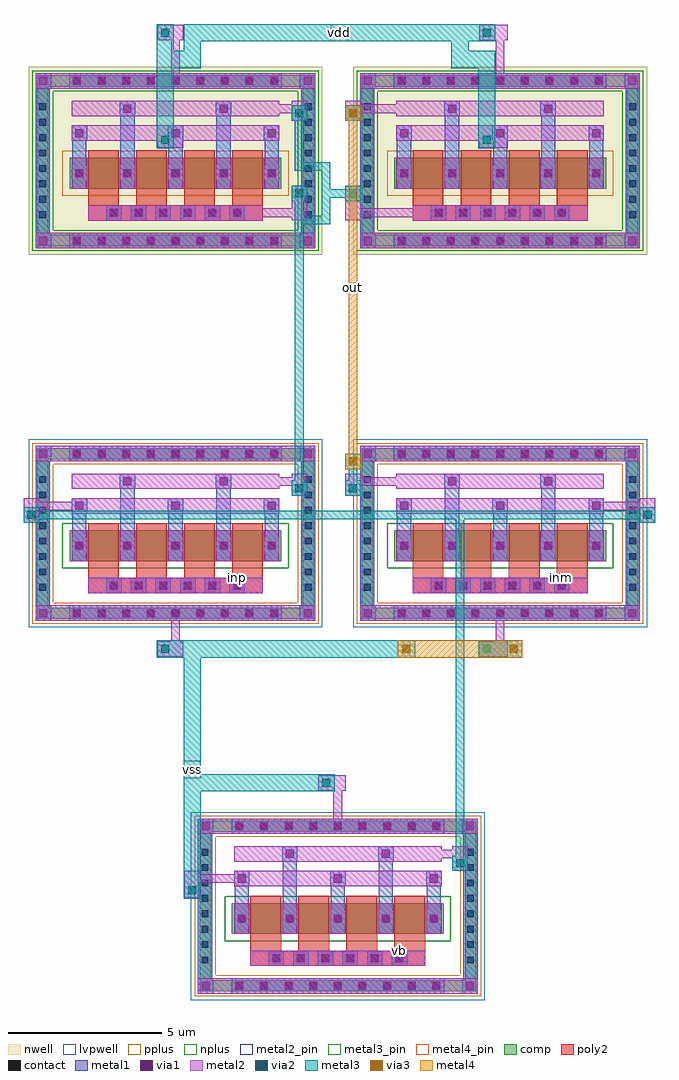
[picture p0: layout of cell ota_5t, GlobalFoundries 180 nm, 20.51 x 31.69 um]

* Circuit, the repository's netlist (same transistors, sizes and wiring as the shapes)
.lib "/home/huda/.volare/gf180mcuD/libs.tech/ngspice/sm141064.ngspice" typical
.subckt ota_5t vdd vss inp inm out vb
XM1  net1 inp net2 vss nfet_03v3 L=1u W=4u nf=4
XM2  out  inm net2 vss nfet_03v3 L=1u W=4u nf=4
XM3  net1 net1 vdd vdd pfet_03v3 L=1u W=4u nf=4
XM4  out  net1 vdd vdd pfet_03v3 L=1u W=4u nf=4
XM5  net2 vb  vss vss nfet_03v3 L=1u W=4u nf=4
.ends

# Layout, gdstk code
import gdstk
lib = gdstk.Library(unit=1e-6, precision=5e-09)
def R(c, l, rs):  # rectangles x0, y0, x1, y1
    for r in rs: c.add(gdstk.rectangle(r[:2], r[2:], *l))
def A(c, l, x, y, w, h, nx, ny, dx, dy):  # array of equal rectangles
    R(c, l, [(x+i*dx, y+j*dy, x+i*dx+w, y+j*dy+h) for i in range(nx) for j in range(ny)])
def P(c, l, *ps):  # polygons
    for p in ps: c.add(gdstk.Polygon(p, *l))
nwell = (21, 0)
comp = (22, 0)
poly2 = (30, 0)
pplus = (31, 0)
nplus = (32, 0)
contact = (33, 0)
metal1 = (34, 0)
via1 = (35, 0)
metal2 = (36, 0)
metal2_pin = (36, 10)
via2 = (38, 0)
via3 = (40, 0)
metal3 = (42, 0)
metal3_pin = (42, 10)
metal4 = (46, 0)
metal4_pin = (46, 10)
lvpwell = (204, 0)

ota_5t = lib.new_cell('ota_5t')
R(ota_5t, nwell, [(-10.04,24.2,-0.5,30.3), (0.5,24.2,10.04,30.3), (-9.88,24.36,-0.66,30.14), (0.66,24.36,9.88,30.14)])
A(ota_5t, comp, -3.38, 0.28, 0.36, 0.36, 9, 2, 0.8, 5.18)
A(ota_5t, comp, -4.49, 1.12, 0.36, 0.36, 1, 8, 0, 0.5)
A(ota_5t, comp, 4.13, 1.12, 0.36, 0.36, 1, 8, 0, 0.5)
A(ota_5t, comp, -8.65, 12.38, 0.36, 0.36, 9, 2, 0.8, 5.18)
A(ota_5t, comp, 1.89, 12.38, 0.36, 0.36, 9, 2, 0.8, 5.18)
A(ota_5t, comp, -9.76, 13.22, 0.36, 0.36, 1, 8, 0, 0.5)
A(ota_5t, comp, -1.14, 13.22, 0.36, 0.36, 1, 8, 0, 0.5)
A(ota_5t, comp, 0.78, 13.22, 0.36, 0.36, 1, 8, 0, 0.5)
A(ota_5t, comp, 9.4, 13.22, 0.36, 0.36, 1, 8, 0, 0.5)
A(ota_5t, comp, -8.65, 24.48, 0.36, 0.36, 9, 2, 0.8, 5.18)
A(ota_5t, comp, 1.89, 24.48, 0.36, 0.36, 9, 2, 0.8, 5.18)
A(ota_5t, comp, -9.76, 25.32, 0.36, 0.36, 1, 8, 0, 0.5)
A(ota_5t, comp, -1.14, 25.32, 0.36, 0.36, 1, 8, 0, 0.5)
A(ota_5t, comp, 0.78, 25.32, 0.36, 0.36, 1, 8, 0, 0.5)
A(ota_5t, comp, 9.4, 25.32, 0.36, 0.36, 1, 8, 0, 0.5)
R(ota_5t, comp, [(-3.38,0.28,3.38,0.64), (-4.49,1.12,-4.13,4.98), (4.13,1.12,4.49,4.98), (-3.44,2.145,3.44,3.145), (-3.38,5.46,3.38,5.82), (-8.65,12.38,-1.89,12.74), (1.89,12.38,8.65,12.74), (-9.76,13.22,-9.4,17.08), (-1.14,13.22,-0.78,17.08), (0.78,13.22,1.14,17.08), (9.4,13.22,9.76,17.08), (-8.71,14.245,-1.83,15.245), (1.83,14.245,8.71,15.245), (-8.65,17.56,-1.89,17.92), (1.89,17.56,8.65,17.92), (-8.65,24.48,-1.89,24.84), (1.89,24.48,8.65,24.84), (-9.76,25.32,-9.4,29.18), (-1.14,25.32,-0.78,29.18), (0.78,25.32,1.14,29.18), (9.4,25.32,9.76,29.18), (-8.71,26.345,-1.83,27.345), (1.83,26.345,8.71,27.345), (-8.65,29.66,-1.89,30.02), (1.89,29.66,8.65,30.02)])
P(ota_5t, comp, [(-0.78,17.92),(-9.76,17.92),(-9.76,12.74),(-9.4,12.74),(-9.4,17.56),(-1.14,17.56),(-1.14,12.74),(-9.4,12.74),(-9.76,12.74),(-9.76,12.38),(-0.78,12.38)],
  [(4.49,5.82),(-4.49,5.82),(-4.49,0.64),(-4.13,0.64),(-4.13,5.46),(4.13,5.46),(4.13,0.64),(-4.13,0.64),(-4.49,0.64),(-4.49,0.28),(4.49,0.28)],
  [(9.76,30.02),(0.78,30.02),(0.78,24.84),(1.14,24.84),(1.14,29.66),(9.4,29.66),(9.4,24.84),(1.14,24.84),(0.78,24.84),(0.78,24.48),(9.76,24.48)],
  [(-0.78,30.02),(-9.76,30.02),(-9.76,24.84),(-9.4,24.84),(-9.4,29.66),(-1.14,29.66),(-1.14,24.84),(-9.4,24.84),(-9.76,24.84),(-9.76,24.48),(-0.78,24.48)],
  [(9.76,17.92),(0.78,17.92),(0.78,12.74),(1.14,12.74),(1.14,17.56),(9.4,17.56),(9.4,12.74),(1.14,12.74),(0.78,12.74),(0.78,12.38),(9.76,12.38)])
A(ota_5t, poly2, -2.18, 1.175, 0.36, 0.36, 6, 1, 0.8, 0)
A(ota_5t, poly2, -2.84, 1.605, 1, 0.3, 4, 1, 1.56, 0)
A(ota_5t, poly2, -2.84, 1.905, 1, 1.48, 4, 1, 1.56, 0)
A(ota_5t, poly2, -7.45, 13.275, 0.36, 0.36, 6, 2, 0.8, 12.1)
A(ota_5t, poly2, 3.09, 13.275, 0.36, 0.36, 6, 2, 0.8, 12.1)
A(ota_5t, poly2, -8.11, 13.705, 1, 0.3, 4, 2, 1.56, 12.1)
A(ota_5t, poly2, 2.43, 13.705, 1, 0.3, 4, 2, 1.56, 12.1)
A(ota_5t, poly2, -8.11, 14.005, 1, 1.48, 4, 2, 1.56, 12.1)
A(ota_5t, poly2, 2.43, 14.005, 1, 1.48, 4, 2, 1.56, 12.1)
R(ota_5t, poly2, [(-2.84,1.105,2.84,1.605), (-8.11,13.205,-2.43,13.705), (2.43,13.205,8.11,13.705), (-8.11,25.305,-2.43,25.805), (2.43,25.305,8.11,25.805)])
R(ota_5t, pplus, [(-8.94,26.115,-1.6,27.575), (1.6,26.115,8.94,27.575)])
P(ota_5t, pplus, [(-0.62,18.08),(-9.92,18.08),(-9.92,12.9),(-9.24,12.9),(-9.24,17.4),(-1.3,17.4),(-1.3,12.9),(-9.24,12.9),(-9.92,12.9),(-9.92,12.22),(-0.62,12.22)],
  [(4.65,5.98),(-4.65,5.98),(-4.65,0.8),(-3.97,0.8),(-3.97,5.3),(3.97,5.3),(3.97,0.8),(-3.97,0.8),(-4.65,0.8),(-4.65,0.12),(4.65,0.12)],
  [(9.92,18.08),(0.62,18.08),(0.62,12.9),(1.3,12.9),(1.3,17.4),(9.24,17.4),(9.24,12.9),(1.3,12.9),(0.62,12.9),(0.62,12.22),(9.92,12.22)])
R(ota_5t, nplus, [(-3.67,1.915,3.67,3.375), (-8.94,14.015,-1.6,15.475), (1.6,14.015,8.94,15.475)])
P(ota_5t, nplus, [(9.92,30.18),(0.62,30.18),(0.62,25),(1.3,25),(1.3,29.5),(9.24,29.5),(9.24,25),(1.3,25),(0.62,25),(0.62,24.32),(9.92,24.32)],
  [(-0.62,30.18),(-9.92,30.18),(-9.92,25),(-9.24,25),(-9.24,29.5),(-1.3,29.5),(-1.3,25),(-9.24,25),(-9.92,25),(-9.92,24.32),(-0.62,24.32)])
A(ota_5t, contact, -3.31, 0.35, 0.22, 0.22, 9, 2, 0.8, 5.18)
A(ota_5t, contact, -4.42, 1.19, 0.22, 0.22, 1, 8, 0, 0.5)
A(ota_5t, contact, 4.2, 1.19, 0.22, 0.22, 1, 8, 0, 0.5)
A(ota_5t, contact, -2.11, 1.245, 0.22, 0.22, 6, 1, 0.8, 0)
A(ota_5t, contact, -3.23, 2.535, 0.22, 0.22, 5, 1, 1.56, 0)
A(ota_5t, contact, -8.58, 12.45, 0.22, 0.22, 9, 2, 0.8, 5.18)
A(ota_5t, contact, 1.96, 12.45, 0.22, 0.22, 9, 2, 0.8, 5.18)
A(ota_5t, contact, -9.69, 13.29, 0.22, 0.22, 1, 8, 0, 0.5)
A(ota_5t, contact, -1.07, 13.29, 0.22, 0.22, 1, 8, 0, 0.5)
A(ota_5t, contact, 0.85, 13.29, 0.22, 0.22, 1, 8, 0, 0.5)
A(ota_5t, contact, 9.47, 13.29, 0.22, 0.22, 1, 8, 0, 0.5)
A(ota_5t, contact, -7.38, 13.345, 0.22, 0.22, 6, 2, 0.8, 12.1)
A(ota_5t, contact, 3.16, 13.345, 0.22, 0.22, 6, 2, 0.8, 12.1)
A(ota_5t, contact, -8.5, 14.635, 0.22, 0.22, 5, 2, 1.56, 12.1)
A(ota_5t, contact, 2.04, 14.635, 0.22, 0.22, 5, 2, 1.56, 12.1)
A(ota_5t, contact, -8.58, 24.55, 0.22, 0.22, 9, 2, 0.8, 5.18)
A(ota_5t, contact, 1.96, 24.55, 0.22, 0.22, 9, 2, 0.8, 5.18)
A(ota_5t, contact, -9.69, 25.39, 0.22, 0.22, 1, 8, 0, 0.5)
A(ota_5t, contact, -1.07, 25.39, 0.22, 0.22, 1, 8, 0, 0.5)
A(ota_5t, contact, 0.85, 25.39, 0.22, 0.22, 1, 8, 0, 0.5)
A(ota_5t, contact, 9.47, 25.39, 0.22, 0.22, 1, 8, 0, 0.5)
A(ota_5t, metal1, -3.45, 0.21, 0.5, 0.5, 9, 2, 0.8, 5.18)
A(ota_5t, metal1, -4.54, 1.07, 0.46, 0.46, 1, 8, 0, 0.5)
A(ota_5t, metal1, 4.08, 1.07, 0.46, 0.46, 1, 8, 0, 0.5)
A(ota_5t, metal1, -2.25, 1.105, 0.5, 0.5, 6, 1, 0.8, 0)
A(ota_5t, metal1, -3.35, 2.145, 0.46, 1, 5, 1, 1.56, 0)
A(ota_5t, metal1, -3.35, 2.415, 0.46, 0.46, 5, 1, 1.56, 0)
A(ota_5t, metal1, -3.35, 3.145, 0.46, 1.05, 3, 1, 3.12, 0)
A(ota_5t, metal1, -3.37, 3.695, 0.5, 0.5, 3, 1, 3.12, 0)
A(ota_5t, metal1, -8.72, 12.31, 0.5, 0.5, 9, 2, 0.8, 5.18)
A(ota_5t, metal1, 1.82, 12.31, 0.5, 0.5, 9, 2, 0.8, 5.18)
A(ota_5t, metal1, -9.81, 13.17, 0.46, 0.46, 1, 8, 0, 0.5)
A(ota_5t, metal1, -1.19, 13.17, 0.46, 0.46, 1, 8, 0, 0.5)
A(ota_5t, metal1, 0.73, 13.17, 0.46, 0.46, 1, 8, 0, 0.5)
A(ota_5t, metal1, 9.35, 13.17, 0.46, 0.46, 1, 8, 0, 0.5)
A(ota_5t, metal1, -7.52, 13.205, 0.5, 0.5, 6, 2, 0.8, 12.1)
A(ota_5t, metal1, 3.02, 13.205, 0.5, 0.5, 6, 2, 0.8, 12.1)
A(ota_5t, metal1, -8.62, 14.245, 0.46, 1, 5, 2, 1.56, 12.1)
A(ota_5t, metal1, 1.92, 14.245, 0.46, 1, 5, 2, 1.56, 12.1)
A(ota_5t, metal1, -8.62, 14.515, 0.46, 0.46, 5, 2, 1.56, 12.1)
A(ota_5t, metal1, 1.92, 14.515, 0.46, 0.46, 5, 2, 1.56, 12.1)
A(ota_5t, metal1, -8.62, 15.245, 0.46, 1.05, 3, 2, 3.12, 12.1)
A(ota_5t, metal1, 1.92, 15.245, 0.46, 1.05, 3, 2, 3.12, 12.1)
A(ota_5t, metal1, -8.64, 15.795, 0.5, 0.5, 3, 2, 3.12, 12.1)
A(ota_5t, metal1, 1.9, 15.795, 0.5, 0.5, 3, 2, 3.12, 12.1)
A(ota_5t, metal1, -8.72, 24.41, 0.5, 0.5, 9, 2, 0.8, 5.18)
A(ota_5t, metal1, 1.82, 24.41, 0.5, 0.5, 9, 2, 0.8, 5.18)
A(ota_5t, metal1, -9.81, 25.27, 0.46, 0.46, 1, 8, 0, 0.5)
A(ota_5t, metal1, -1.19, 25.27, 0.46, 0.46, 1, 8, 0, 0.5)
A(ota_5t, metal1, 0.73, 25.27, 0.46, 0.46, 1, 8, 0, 0.5)
A(ota_5t, metal1, 9.35, 25.27, 0.46, 0.46, 1, 8, 0, 0.5)
R(ota_5t, metal1, [(-4.54,0.21,-4.04,0.71), (-4.54,0.21,-4.04,0.71), (-4.54,0.21,-4.08,0.64), (-3.45,0.21,3.45,0.71), (4.04,0.21,4.54,0.71), (4.04,0.21,4.54,0.71), (4.08,0.21,4.54,0.64), (-4.54,0.64,-4.08,5.46), (4.08,0.64,4.54,5.46), (-3.37,2.395,-2.87,2.895), (-3.37,2.395,-2.87,2.895), (-1.81,2.395,-1.31,2.895), (-1.81,2.395,-1.31,2.895), (-0.25,2.395,0.25,2.895), (-0.25,2.395,0.25,2.895), (1.31,2.395,1.81,2.895), (1.31,2.395,1.81,2.895), (2.87,2.395,3.37,2.895), (2.87,2.395,3.37,2.895), (-1.79,3.145,-1.33,4.995), (1.33,3.145,1.79,4.995), (-1.81,4.495,-1.31,4.995), (1.31,4.495,1.81,4.995), (-4.54,5.39,-4.04,5.89), (-4.54,5.39,-4.04,5.89), (-3.45,5.39,3.45,5.89), (4.04,5.39,4.54,5.89), (4.04,5.39,4.54,5.89), (-4.54,5.46,-4.08,5.89), (4.08,5.46,4.54,5.89), (-9.81,12.31,-9.31,12.81), (-9.81,12.31,-9.31,12.81), (-9.81,12.31,-9.35,12.74), (-8.72,12.31,-1.82,12.81), (-1.23,12.31,-0.73,12.81), (-1.23,12.31,-0.73,12.81), (-1.19,12.31,-0.73,12.74), (0.73,12.31,1.23,12.81), (0.73,12.31,1.23,12.81), (0.73,12.31,1.19,12.74), (1.82,12.31,8.72,12.81), (9.31,12.31,9.81,12.81), (9.31,12.31,9.81,12.81), (9.35,12.31,9.81,12.74), (-9.81,12.74,-9.35,17.56), (-1.19,12.74,-0.73,17.56), (0.73,12.74,1.19,17.56), (9.35,12.74,9.81,17.56), (-8.64,14.495,-8.14,14.995), (-8.64,14.495,-8.14,14.995), (-7.08,14.495,-6.58,14.995), (-7.08,14.495,-6.58,14.995), (-5.52,14.495,-5.02,14.995), (-5.52,14.495,-5.02,14.995), (-3.96,14.495,-3.46,14.995), (-3.96,14.495,-3.46,14.995), (-2.4,14.495,-1.9,14.995), (-2.4,14.495,-1.9,14.995), (1.9,14.495,2.4,14.995), (1.9,14.495,2.4,14.995), (3.46,14.495,3.96,14.995), (3.46,14.495,3.96,14.995), (5.02,14.495,5.52,14.995), (5.02,14.495,5.52,14.995), (6.58,14.495,7.08,14.995), (6.58,14.495,7.08,14.995), (8.14,14.495,8.64,14.995), (8.14,14.495,8.64,14.995), (-7.06,15.245,-6.6,17.095), (-3.94,15.245,-3.48,17.095), (3.48,15.245,3.94,17.095), (6.6,15.245,7.06,17.095), (-7.08,16.595,-6.58,17.095), (-3.96,16.595,-3.46,17.095), (3.46,16.595,3.96,17.095), (6.58,16.595,7.08,17.095), (-9.81,17.49,-9.31,17.99), (-9.81,17.49,-9.31,17.99), (-8.72,17.49,-1.82,17.99), (-1.23,17.49,-0.73,17.99), (-1.23,17.49,-0.73,17.99), (0.73,17.49,1.23,17.99), (0.73,17.49,1.23,17.99), (1.82,17.49,8.72,17.99), (9.31,17.49,9.81,17.99), (9.31,17.49,9.81,17.99), (-9.81,17.56,-9.35,17.99), (-1.19,17.56,-0.73,17.99), (0.73,17.56,1.19,17.99), (9.35,17.56,9.81,17.99), (-9.81,24.41,-9.31,24.91), (-9.81,24.41,-9.31,24.91), (-9.81,24.41,-9.35,24.84), (-8.72,24.41,-1.82,24.91), (-1.23,24.41,-0.73,24.91), (-1.23,24.41,-0.73,24.91), (-1.19,24.41,-0.73,24.84), (0.73,24.41,1.23,24.91), (0.73,24.41,1.23,24.91), (0.73,24.41,1.19,24.84), (1.82,24.41,8.72,24.91), (9.31,24.41,9.81,24.91), (9.31,24.41,9.81,24.91), (9.35,24.41,9.81,24.84), (-9.81,24.84,-9.35,29.66), (-1.19,24.84,-0.73,29.66), (0.73,24.84,1.19,29.66), (9.35,24.84,9.81,29.66), (-8.64,26.595,-8.14,27.095), (-8.64,26.595,-8.14,27.095), (-7.08,26.595,-6.58,27.095), (-7.08,26.595,-6.58,27.095), (-5.52,26.595,-5.02,27.095), (-5.52,26.595,-5.02,27.095), (-3.96,26.595,-3.46,27.095), (-3.96,26.595,-3.46,27.095), (-2.4,26.595,-1.9,27.095), (-2.4,26.595,-1.9,27.095), (1.9,26.595,2.4,27.095), (1.9,26.595,2.4,27.095), (3.46,26.595,3.96,27.095), (3.46,26.595,3.96,27.095), (5.02,26.595,5.52,27.095), (5.02,26.595,5.52,27.095), (6.58,26.595,7.08,27.095), (6.58,26.595,7.08,27.095), (8.14,26.595,8.64,27.095), (8.14,26.595,8.64,27.095), (-7.06,27.345,-6.6,29.195), (-3.94,27.345,-3.48,29.195), (3.48,27.345,3.94,29.195), (6.6,27.345,7.06,29.195), (-7.08,28.695,-6.58,29.195), (-3.96,28.695,-3.46,29.195), (3.46,28.695,3.96,29.195), (6.58,28.695,7.08,29.195), (-9.81,29.59,-9.31,30.09), (-9.81,29.59,-9.31,30.09), (-8.72,29.59,-1.82,30.09), (-1.23,29.59,-0.73,30.09), (-1.23,29.59,-0.73,30.09), (0.73,29.59,1.23,30.09), (0.73,29.59,1.23,30.09), (1.82,29.59,8.72,30.09), (9.31,29.59,9.81,30.09), (9.31,29.59,9.81,30.09), (-9.81,29.66,-9.35,30.09), (-1.19,29.66,-0.73,30.09), (0.73,29.66,1.19,30.09), (9.35,29.66,9.81,30.09)])
A(ota_5t, via1, -3.33, 0.33, 0.26, 0.26, 9, 2, 0.8, 5.18)
A(ota_5t, via1, -2.13, 1.225, 0.26, 0.26, 6, 1, 0.8, 0)
A(ota_5t, via1, -3.25, 2.515, 0.26, 0.26, 5, 1, 1.56, 0)
A(ota_5t, via1, -3.25, 3.815, 0.26, 0.26, 3, 1, 3.12, 0)
A(ota_5t, via1, -8.6, 12.43, 0.26, 0.26, 9, 2, 0.8, 5.18)
A(ota_5t, via1, 1.94, 12.43, 0.26, 0.26, 9, 2, 0.8, 5.18)
A(ota_5t, via1, -7.4, 13.325, 0.26, 0.26, 6, 2, 0.8, 12.1)
A(ota_5t, via1, 3.14, 13.325, 0.26, 0.26, 6, 2, 0.8, 12.1)
A(ota_5t, via1, -8.52, 14.615, 0.26, 0.26, 5, 2, 1.56, 12.1)
A(ota_5t, via1, 2.02, 14.615, 0.26, 0.26, 5, 2, 1.56, 12.1)
A(ota_5t, via1, -8.52, 15.915, 0.26, 0.26, 3, 2, 3.12, 12.1)
A(ota_5t, via1, 2.02, 15.915, 0.26, 0.26, 3, 2, 3.12, 12.1)
A(ota_5t, via1, -8.6, 24.53, 0.26, 0.26, 9, 2, 0.8, 5.18)
A(ota_5t, via1, 1.94, 24.53, 0.26, 0.26, 9, 2, 0.8, 5.18)
R(ota_5t, via1, [(-4.42,0.33,-4.16,0.59), (4.16,0.33,4.42,0.59), (-1.69,4.615,-1.43,4.875), (1.43,4.615,1.69,4.875), (-4.42,5.51,-4.16,5.77), (4.16,5.51,4.42,5.77), (-9.69,12.43,-9.43,12.69), (-1.11,12.43,-0.85,12.69), (0.85,12.43,1.11,12.69), (9.43,12.43,9.69,12.69), (-6.96,16.715,-6.7,16.975), (-3.84,16.715,-3.58,16.975), (3.58,16.715,3.84,16.975), (6.7,16.715,6.96,16.975), (-9.69,17.61,-9.43,17.87), (-1.11,17.61,-0.85,17.87), (0.85,17.61,1.11,17.87), (9.43,17.61,9.69,17.87), (-9.69,24.53,-9.43,24.79), (-1.11,24.53,-0.85,24.79), (0.85,24.53,1.11,24.79), (9.43,24.53,9.69,24.79), (-6.96,28.815,-6.7,29.075), (-3.84,28.815,-3.58,29.075), (3.58,28.815,3.84,29.075), (6.7,28.815,6.96,29.075), (-9.69,29.71,-9.43,29.97), (-1.11,29.71,-0.85,29.97), (0.85,29.71,1.11,29.97), (9.43,29.71,9.69,29.97)])
A(ota_5t, metal2, -3.45, 0.21, 0.5, 0.5, 9, 2, 0.8, 5.18)
A(ota_5t, metal2, -2.25, 1.105, 0.5, 0.5, 6, 1, 0.8, 0)
A(ota_5t, metal2, -3.37, 2.145, 0.5, 1, 5, 1, 1.56, 0)
A(ota_5t, metal2, -3.37, 2.395, 0.5, 0.5, 5, 1, 1.56, 0)
A(ota_5t, metal2, -3.37, 3.695, 0.5, 0.5, 3, 1, 3.12, 0)
A(ota_5t, metal2, -8.72, 12.31, 0.5, 0.5, 9, 2, 0.8, 5.18)
A(ota_5t, metal2, 1.82, 12.31, 0.5, 0.5, 9, 2, 0.8, 5.18)
A(ota_5t, metal2, -7.52, 13.205, 0.5, 0.5, 6, 2, 0.8, 12.1)
A(ota_5t, metal2, 3.02, 13.205, 0.5, 0.5, 6, 2, 0.8, 12.1)
A(ota_5t, metal2, -8.64, 14.245, 0.5, 1, 5, 2, 1.56, 12.1)
A(ota_5t, metal2, 1.9, 14.245, 0.5, 1, 5, 2, 1.56, 12.1)
A(ota_5t, metal2, -8.64, 14.495, 0.5, 0.5, 5, 2, 1.56, 12.1)
A(ota_5t, metal2, 1.9, 14.495, 0.5, 0.5, 5, 2, 1.56, 12.1)
A(ota_5t, metal2, -8.64, 15.795, 0.5, 0.5, 3, 2, 3.12, 12.1)
A(ota_5t, metal2, 1.9, 15.795, 0.5, 0.5, 3, 2, 3.12, 12.1)
A(ota_5t, metal2, -8.72, 24.41, 0.5, 0.5, 9, 2, 0.8, 5.18)
A(ota_5t, metal2, 1.82, 24.41, 0.5, 0.5, 9, 2, 0.8, 5.18)
R(ota_5t, metal2, [(-4.54,0.21,-4.04,0.71), (-4.54,0.21,-4.04,0.71), (-4.54,0.21,-4.13,0.71), (-4.13,0.21,4.13,0.71), (4.04,0.21,4.54,0.71), (4.04,0.21,4.54,0.71), (4.13,0.21,4.54,0.71), (-2.84,1.105,2.84,1.605), (-4.98,3.32,-4.48,4.19), (-4.98,3.32,-4.48,3.82), (-3.37,3.695,3.37,4.195), (-4.87,3.8,-3.23,4.08), (3.72,4.19,4.22,4.99), (3.72,4.19,4.22,4.69), (-3.37,4.495,3.37,4.995), (-1.81,4.495,-1.31,4.995), (1.31,4.495,1.81,4.995), (3.23,4.6,4.11,4.88), (-4.54,5.39,-4.04,5.89), (-4.54,5.39,-4.04,5.89), (-4.54,5.39,-4.13,5.89), (-4.13,5.39,4.13,5.89), (4.04,5.39,4.54,5.89), (4.04,5.39,4.54,5.89), (4.13,5.39,4.54,5.89), (-0.14,5.75,0.14,7.19), (-0.63,6.8,0.25,7.3), (-0.63,6.8,-0.13,7.3), (-5.85,11.15,-5.02,11.65), (-5.85,11.15,-5.35,11.65), (4.59,11.15,5.52,11.65), (4.59,11.15,5.09,11.65), (-5.41,11.26,-5.13,12.45), (5.13,11.26,5.41,12.45), (-9.81,12.31,-9.31,12.81), (-9.81,12.31,-9.31,12.81), (-9.81,12.31,-9.4,12.81), (-9.4,12.31,-1.14,12.81), (-1.23,12.31,-0.73,12.81), (-1.23,12.31,-0.73,12.81), (-1.14,12.31,-0.73,12.81), (0.73,12.31,1.23,12.81), (0.73,12.31,1.23,12.81), (0.73,12.31,1.14,12.81), (1.14,12.31,9.4,12.81), (9.31,12.31,9.81,12.81), (9.31,12.31,9.81,12.81), (9.4,12.31,9.81,12.81), (-8.11,13.205,-2.43,13.705), (2.43,13.205,8.11,13.705), (-10.2,15.5,-9.7,16.29), (-10.2,15.5,-9.7,16), (9.81,15.5,10.31,16.29), (9.81,15.5,10.31,16), (-8.64,15.795,-1.9,16.295), (1.9,15.795,8.64,16.295), (-10.09,15.9,-8.5,16.18), (8.5,15.9,10.2,16.18), (-1.5,16.37,-1,17.09), (-1.5,16.37,-1,16.87), (0.24,16.37,0.74,17.09), (0.24,16.37,0.74,16.87), (-8.64,16.595,-1.9,17.095), (-7.08,16.595,-6.58,17.095), (-3.96,16.595,-3.46,17.095), (1.9,16.595,8.64,17.095), (3.46,16.595,3.96,17.095), (6.58,16.595,7.08,17.095), (-2.04,16.7,-1.11,16.98), (0.35,16.7,2.04,16.98), (-9.81,17.49,-9.31,17.99), (-9.81,17.49,-9.31,17.99), (-9.81,17.49,-9.4,17.99), (-9.4,17.49,-1.14,17.99), (-1.23,17.49,-0.73,17.99), (-1.23,17.49,-0.73,17.99), (-1.14,17.49,-0.73,17.99), (0.73,17.49,1.23,17.99), (0.73,17.49,1.23,17.99), (0.73,17.49,1.14,17.99), (1.14,17.49,9.4,17.99), (9.31,17.49,9.81,17.99), (9.31,17.49,9.81,17.99), (9.4,17.49,9.81,17.99), (-9.81,24.41,-9.31,24.91), (-9.81,24.41,-9.31,24.91), (-9.81,24.41,-9.4,24.91), (-9.4,24.41,-1.14,24.91), (-1.23,24.41,-0.73,24.91), (-1.23,24.41,-0.73,24.91), (-1.14,24.41,-0.73,24.91), (0.73,24.41,1.23,24.91), (0.73,24.41,1.23,24.91), (0.73,24.41,1.14,24.91), (1.14,24.41,9.4,24.91), (9.31,24.41,9.81,24.91), (9.31,24.41,9.81,24.91), (9.4,24.41,9.81,24.91), (-8.11,25.305,-2.43,25.805), (2.43,25.305,8.11,25.805), (-1.5,25.31,-1,26.44), (0.24,25.31,0.74,26.44), (-2.57,25.42,-1.11,25.7), (0.35,25.42,2.57,25.7), (-1.5,25.94,-1,26.44), (0.24,25.94,0.74,26.44), (-5.85,27.68,-5.02,28.18), (-5.85,27.68,-5.35,28.18), (4.59,27.68,5.52,28.18), (4.59,27.68,5.09,28.18), (-5.41,27.76,-5.13,28.07), (5.13,27.76,5.41,28.07), (-8.64,27.895,-1.9,28.395), (1.9,27.895,8.64,28.395), (-1.5,28.55,-1,29.19), (-1.5,28.55,-1,29.05), (0.24,28.55,0.74,29.19), (0.24,28.55,0.74,29.05), (-8.64,28.695,-1.9,29.195), (-7.08,28.695,-6.58,29.195), (-3.96,28.695,-3.46,29.195), (1.9,28.695,8.64,29.195), (3.46,28.695,3.96,29.195), (6.58,28.695,7.08,29.195), (-2.04,28.8,-1.11,29.08), (0.35,28.8,2.04,29.08), (-9.81,29.59,-9.31,30.09), (-9.81,29.59,-9.31,30.09), (-9.81,29.59,-9.4,30.09), (-9.4,29.59,-1.14,30.09), (-1.23,29.59,-0.73,30.09), (-1.23,29.59,-0.73,30.09), (-1.14,29.59,-0.73,30.09), (0.73,29.59,1.23,30.09), (0.73,29.59,1.23,30.09), (0.73,29.59,1.14,30.09), (1.14,29.59,9.4,30.09), (9.31,29.59,9.81,30.09), (9.31,29.59,9.81,30.09), (9.4,29.59,9.81,30.09), (-5.41,29.95,-5.13,31.55), (5.13,29.95,5.41,31.55), (-5.85,31.16,-5.02,31.66), (-5.85,31.16,-5.35,31.66), (4.59,31.16,5.52,31.66), (4.59,31.16,5.09,31.66)])
R(ota_5t, metal2_pin, [(1.86,1.465,2.14,1.745), (-3.41,13.565,-3.13,13.845), (7.13,13.565,7.41,13.845)])
R(ota_5t, via2, [(-4.86,3.44,-4.6,3.7), (3.84,4.31,4.1,4.57), (-0.51,6.92,-0.25,7.18), (-5.73,11.27,-5.47,11.53), (4.71,11.27,4.97,11.53), (-10.08,15.62,-9.82,15.88), (9.93,15.62,10.19,15.88), (-1.38,16.49,-1.12,16.75), (0.36,16.49,0.62,16.75), (-1.38,26.06,-1.12,26.32), (0.36,26.06,0.62,26.32), (-5.73,27.8,-5.47,28.06), (4.71,27.8,4.97,28.06), (-1.38,28.67,-1.12,28.93), (0.36,28.67,0.62,28.93), (-5.73,31.28,-5.47,31.54), (4.71,31.28,4.97,31.54)])
R(ota_5t, via3, [(2.1,11.27,2.36,11.53), (5.58,11.27,5.84,11.53), (0.36,17.36,0.62,17.62), (0.36,28.67,0.62,28.93)])
R(ota_5t, metal3, [(-5.01,3.29,-4.45,11.68), (-4.98,3.32,-4.48,3.82), (3.72,4.19,4.22,4.69), (3.83,4.3,4.11,15.89), (-5.01,6.77,-0.1,7.33), (-0.63,6.8,-0.13,7.3), (-5.88,11.12,-4.45,11.68), (-5.01,11.12,2.51,11.68), (4.56,11.12,5.99,11.68), (-5.85,11.15,-5.35,11.65), (1.98,11.15,2.48,11.65), (4.59,11.15,5.09,11.65), (5.46,11.15,5.96,11.65), (-10.2,15.5,-9.7,16), (9.81,15.5,10.31,16), (-10.09,15.61,10.2,15.89), (-1.5,16.37,-1,16.87), (0.24,16.37,0.74,16.87), (-1.39,16.48,-1.11,26.33), (0.35,16.48,0.63,17.63), (0.24,17.24,0.74,17.74), (-1.39,25.18,-0.24,25.46), (-0.52,25.18,-0.24,26.33), (-1.5,25.94,-1,26.44), (0.24,25.94,0.74,26.44), (-0.52,26.05,0.63,26.33), (-0.52,26.05,-0.24,27.2), (-1.39,26.92,-0.24,27.2), (-1.39,26.92,-1.11,28.94), (-5.88,27.65,-5.32,31.69), (4.56,27.65,5.12,30.82), (-5.85,27.68,-5.35,28.18), (4.59,27.68,5.09,28.18), (-1.5,28.55,-1,29.05), (0.24,28.55,0.74,29.05), (0.24,28.55,0.74,29.05), (-5.88,30.26,-4.45,30.82), (-5.01,30.26,-4.45,31.69), (3.69,30.26,5.12,30.82), (3.69,30.26,4.25,31.69), (-5.01,31.13,5.12,31.69), (-5.85,31.16,-5.35,31.66), (4.59,31.16,5.09,31.66)])
R(ota_5t, metal3_pin, [(-5.01,7.205,-4.45,7.765), (-0.225,31.13,0.335,31.69)])
R(ota_5t, metal4, [(1.95,11.12,5.99,11.68), (1.98,11.15,2.48,11.65), (5.46,11.15,5.96,11.65), (0.24,17.24,0.74,17.74), (0.35,17.35,0.63,28.94), (0.24,28.55,0.74,29.05)])
R(ota_5t, metal4_pin, [(0.35,23.005,0.63,23.285)])
R(ota_5t, lvpwell, [(-4.77,0,4.77,6.1), (-10.04,12.1,-0.5,18.2), (0.5,12.1,10.04,18.2)])
ota_5t.add(gdstk.Label('vb', (2,1.605), layer=36, texttype=10))
ota_5t.add(gdstk.Label('out', (0.49,23.145), layer=46, texttype=10))
ota_5t.add(gdstk.Label('inm', (7.27,13.705), layer=36, texttype=10))
ota_5t.add(gdstk.Label('inp', (-3.27,13.705), layer=36, texttype=10))
ota_5t.add(gdstk.Label('vss', (-4.73,7.485), layer=42, texttype=10))
ota_5t.add(gdstk.Label('vdd', (0.055,31.41), layer=42, texttype=10))

lib.write_gds('ota_5t.gds')
